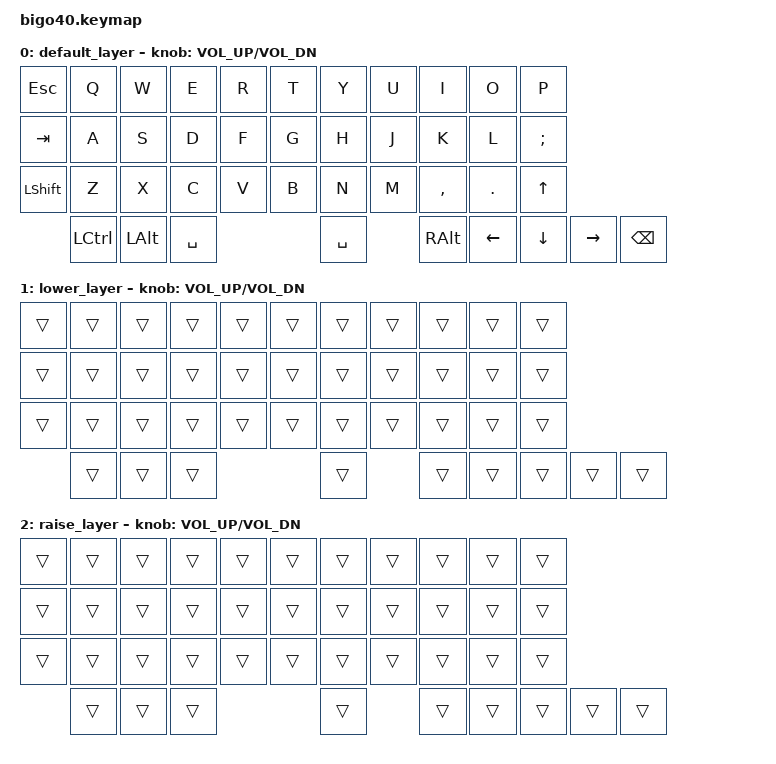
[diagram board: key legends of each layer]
/*
 * Copyright (c) 2022 The ZMK Contributors
 *
 * SPDX-License-Identifier: MIT
 */

#include <behaviors.dtsi>
#include <dt-bindings/zmk/keys.h>
#include <dt-bindings/zmk/bt.h>
#include <dt-bindings/zmk/rgb.h>

#define DEFAULT 0
#define LOWER 1
#define RAISE 2

#define L_SPC &lt LOWER SPACE
#define R_RET &lt RAISE RET

/ {
    macro {
        macro_hello: macro_hello {
            // hello
            compatible = "zmk,behavior-macro";
            label = "MACRO_HELLO";
            #binding-cells = <0>;
            bindings = <&kp H &kp E &kp L &kp L &kp O>;
        };
	};

    keymap {
        compatible = "zmk,keymap";

        default_layer {
            bindings = <
                &kp ESC      &kp Q     &kp W     &kp E     &kp R     &kp T     &kp Y     &kp U     &kp I     &kp O    &kp P    
                &kp TAB      &kp A     &kp S     &kp D     &kp F     &kp G     &kp H     &kp J     &kp K     &kp L    &kp SEMI
                &kp LSHFT    &kp Z     &kp X     &kp C     &kp V     &kp B     &kp N     &kp M     &kp COMMA &kp DOT  &kp UP
                        &kp LCTRL  &kp LALT          &kp SPACE                 &kp SPACE           &kp RALT  &kp LEFT &kp DOWN &kp RIGHT &kp BSPC
            >;
            sensor-bindings = <&inc_dec_kp C_VOL_UP C_VOL_DN>;
        };
        lower_layer {
            bindings = <
                &trans      &trans     &trans     &trans     &trans     &trans     &trans     &trans     &trans     &trans     &trans    
                &trans      &trans     &trans     &trans     &trans     &trans     &trans     &trans     &trans     &trans     &trans
                &trans      &trans     &trans     &trans     &trans     &trans     &trans     &trans     &trans     &trans     &trans
                    &trans      &trans               &trans                     &trans                &trans     &trans     &trans     &trans     &trans
            >;
            sensor-bindings = <&inc_dec_kp C_VOL_UP C_VOL_DN>;
        };
        raise_layer {
            bindings = <
                &trans      &trans     &trans     &trans     &trans     &trans     &trans     &trans     &trans     &trans     &trans     
                &trans      &trans     &trans     &trans     &trans     &trans     &trans     &trans     &trans     &trans     &trans
                &trans      &trans     &trans     &trans     &trans     &trans     &trans     &trans     &trans     &trans     &trans
                    &trans      &trans               &trans                     &trans                &trans     &trans     &trans     &trans     &trans
            >;
            sensor-bindings = <&inc_dec_kp C_VOL_UP C_VOL_DN>;
        };
    };
};
